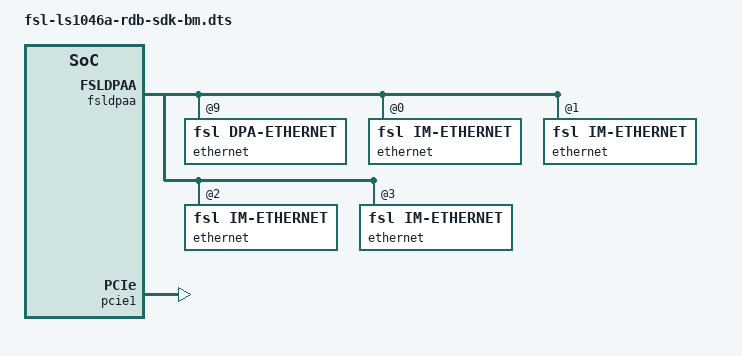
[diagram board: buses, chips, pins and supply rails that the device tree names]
// SPDX-License-Identifier: GPL-2.0+
/*
 * DTS file for NXP Layerscape baremetal
 *
 * Copyright 2018-2023 NXP
 *
 * Author: Changming Huang <jerry.huang@nxp.com>
 *
 */

#include "fsl-ls1046a-rdb.dts"

&bman_fbpr {
	compatible = "fsl,bman-fbpr";
	alloc-ranges = <0 0 0x10000 0>;
};
&qman_fqd {
	compatible = "fsl,qman-fqd";
	alloc-ranges = <0 0 0x10000 0>;
};
&qman_pfdr {
	compatible = "fsl,qman-pfdr";
	alloc-ranges = <0 0 0x10000 0>;
};

&soc {
#include "qoriq-dpaa-eth.dtsi"
#include "qoriq-fman3-0-6oh.dtsi"
};

&fsldpaa {
	ethernet@9 {
		compatible = "fsl,dpa-ethernet";
		fsl,fman-mac = <&enet7>;
	};
	ethernet@0 {
		compatible = "fsl,im-ethernet";
		fsl,fman-mac = <&enet2>;
		fpmevt-sel = <0>;
	};
	ethernet@1 {
		compatible = "fsl,im-ethernet";
		fsl,fman-mac = <&enet3>;
		fpmevt-sel = <1>;
	};
	ethernet@2 {
		compatible = "fsl,im-ethernet";
		fsl,fman-mac = <&enet4>;
		fpmevt-sel = <2>;
	};
	ethernet@3 {
		compatible = "fsl,im-ethernet";
		fsl,fman-mac = <&enet5>;
		fpmevt-sel = <3>;
	};
};

&fman0 {
	compatible = "fsl,fman", "simple-bus";
};

&usb0 {
	status = "disabled";
};

&usb1 {
	status = "disabled";
};

&usb2 {
	status = "disabled";
};

&pcie1 {
	status = "okay";
};

&pcie2 {
	status = "disabled";
};

&pcie3 {
	status = "disabled";
};
